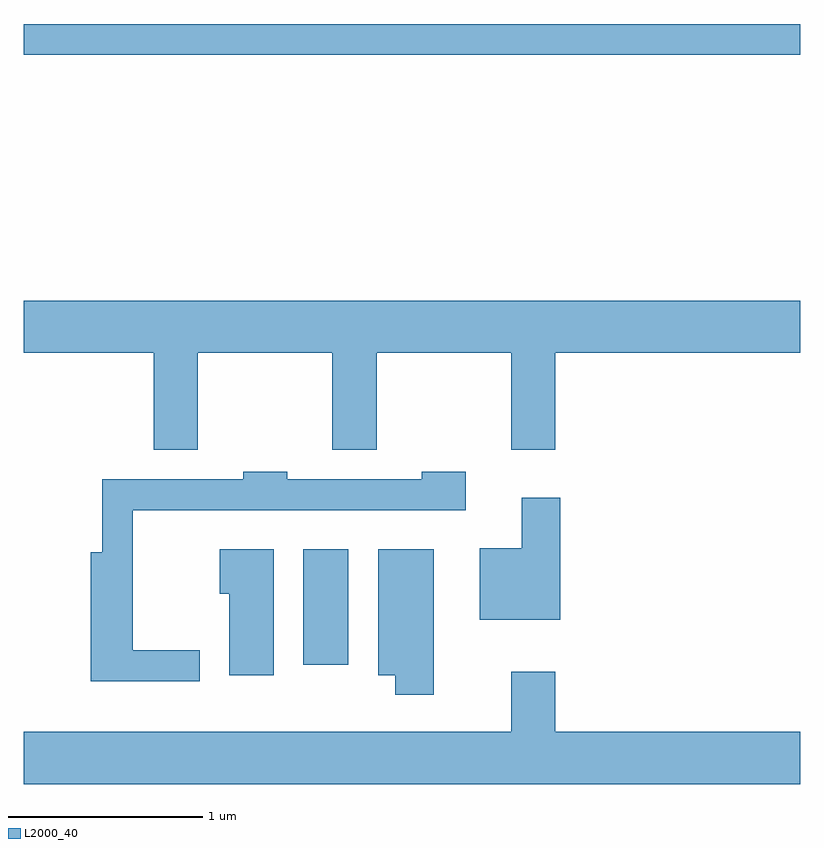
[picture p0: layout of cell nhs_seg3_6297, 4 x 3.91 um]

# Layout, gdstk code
import gdstk
lib = gdstk.Library(unit=1e-6, precision=1e-09)
def R(c, l, rs):  # rectangles x0, y0, x1, y1
    for r in rs: c.add(gdstk.rectangle(r[:2], r[2:], *l))
def P(c, l, *ps):  # polygons
    for p in ps: c.add(gdstk.Polygon(p, *l))
L2000_40 = (2000, 40)

nhs_seg3_6297 = lib.new_cell('nhs_seg3_6297')
R(nhs_seg3_6297, L2000_40, [(371.051,1206.551,371.284,1207.144), (369.611,1209.691,373.611,1209.849)])
P(nhs_seg3_6297, L2000_40, [(370.509,1208.156),(371.201,1208.156),(371.201,1207.656),(371.429,1207.656),(371.429,1208.156),(372.121,1208.156),(372.121,1207.656),(372.349,1207.656),(372.349,1208.156),(373.611,1208.156),(373.611,1208.424),(369.611,1208.424),(369.611,1208.156),(370.281,1208.156),(370.281,1207.656),(370.509,1207.656)],
  [(370.518,1206.624),(370.174,1206.624),(370.174,1207.346),(371.889,1207.346),(371.889,1207.544),(371.661,1207.544),(371.661,1207.504),(370.969,1207.504),(370.969,1207.544),(370.741,1207.544),(370.741,1207.504),(370.016,1207.504),(370.016,1207.129),(369.956,1207.129),(369.956,1206.466),(370.518,1206.466)],
  [(372.374,1207.409),(372.176,1207.409),(372.176,1207.149),(371.961,1207.149),(371.961,1206.781),(372.374,1206.781)],
  [(371.724,1207.144),(371.436,1207.144),(371.436,1206.496),(371.526,1206.496),(371.526,1206.396),(371.724,1206.396)],
  [(370.899,1207.144),(370.621,1207.144),(370.621,1206.916),(370.671,1206.916),(370.671,1206.496),(370.899,1206.496)],
  [(373.611,1206.204),(372.349,1206.204),(372.349,1206.514),(372.121,1206.514),(372.121,1206.204),(369.611,1206.204),(369.611,1205.936),(373.611,1205.936)])

lib.write_gds('nhs_seg3_6297.gds')
